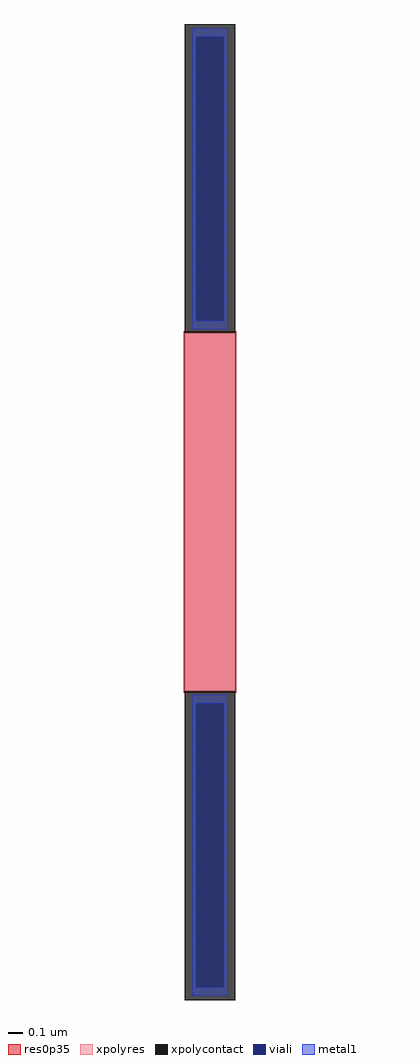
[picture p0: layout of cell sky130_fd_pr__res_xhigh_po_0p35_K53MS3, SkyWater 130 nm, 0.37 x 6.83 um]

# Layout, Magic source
magic
tech sky130A
magscale 1 2
<< xpolycontact >>
rect -35 251 35 683
rect -35 -683 35 -251
<< xpolyres >>
rect -35 -251 35 251
<< viali >>
rect -19 268 19 665
rect -19 -665 19 -268
<< metal1 >>
rect -25 665 25 677
rect -25 268 -19 665
rect 19 268 25 665
rect -25 256 25 268
rect -25 -268 25 -256
rect -25 -665 -19 -268
rect 19 -665 25 -268
rect -25 -677 25 -665
<< res0p35 >>
rect -37 -253 37 253
<< properties >>
string gencell sky130_fd_pr__res_xhigh_po_0p35
string parameters w 0.350 l 2.51 m 1 nx 1 wmin 0.350 lmin 0.50 rho 2000 val 15.028k dummy 0 dw 0.0 term 120 sterm 0.0 caplen 0 wmax 0.350 guard 0 glc 0 grc 0 gtc 0 gbc 0 compatible {sky130_fd_pr__res_xhigh_po_0p35  sky130_fd_pr__res_xhigh_po_0p69 sky130_fd_pr__res_xhigh_po_1p41  sky130_fd_pr__res_xhigh_po_2p85 sky130_fd_pr__res_xhigh_po_5p73} full_metal 0 vias 1 viagb 0 viagt 0 viagl 0 viagr 0
string library sky130
<< end >>
